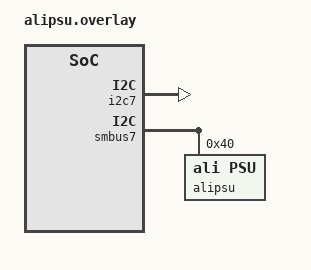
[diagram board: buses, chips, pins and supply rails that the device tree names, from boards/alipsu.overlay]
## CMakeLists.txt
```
cmake_minimum_required(VERSION 3.22)

# 添加这行来指定board overlay文件
set(DTC_OVERLAY_FILE boards/alipsu.overlay)

find_package(Zephyr REQUIRED HINTS $ENV{ZEPHYR_BASE})
project(alipsu_app)

# 添加PMBus/Alipsu库目录到包含路径
include_directories($ENV{ZEPHYR_BASE}/drivers/sensor/ls_pmbus)
include_directories($ENV{ZEPHYR_BASE}/drivers/sensor/alipsu)

# 添加应用程序源文件
FILE(GLOB app_sources src/*.c)
target_sources(app PRIVATE ${app_sources})

# 确保设备树生成正确
zephyr_library_include_directories(${ZEPHYR_BASE}/include)
zephyr_library_include_directories(${ZEPHYR_BASE}/drivers/sensor/alipsu)

# 添加依赖关系，确保PMBus库在MP5023之前编译
add_dependencies(app zephyr_interface)
```

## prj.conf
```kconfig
# 启用ALIPSU驱动
CONFIG_ALIPSU=y

# 启用I2C
CONFIG_I2C=y
CONFIG_SMBUS=y
CONFIG_PECI=n
CONFIG_PIPES=y

# 启用传感器子系统
CONFIG_SENSOR=y

# 日志系统配置
CONFIG_LOG=y
CONFIG_LOG_MODE_IMMEDIATE=y
CONFIG_LOG_DEFAULT_LEVEL=4
```

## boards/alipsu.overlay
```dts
/*
 * Copyright (c) 2018 Jan Van Winkel <jan.van_winkel@dxplore.eu>
 *
 * SPDX-License-Identifier: Apache-2.0
 */

&i2c7 {
    status = "okay";
    bus-frequency = <100000>;
};

&smbus7 {
    status = "okay";
    
    alipsu: alipsu@40 {
        compatible = "ali,psu";
        reg = <0x40>;
        status = "okay";
        smbus-max-frequency = <100000>;
    };
};
```

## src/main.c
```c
/*
 * Copyright (c) 2018 Jan Van Winkel <jan.van_winkel@dxplore.eu>
 *
 * SPDX-License-Identifier: Apache-2.0
 */

#include <zephyr/device.h>
#include <zephyr/devicetree.h>
#include <zephyr/drivers/sensor.h>
#include <zephyr/kernel.h>
#include <zephyr/logging/log.h>
// #include <zephyr/drivers/sensor/alipsu/psu.h>
#include "psu.h"

LOG_MODULE_REGISTER(alipsu_app, LOG_LEVEL_INF);

// 定义驱动兼容性字符串
#define DT_DRV_COMPAT ali_psu

// 定义设备标签名称
#define ALIPSU_DEV_NODE DT_NODELABEL(alipsu)

void main(void) {
  const struct device *dev = DEVICE_DT_GET(ALIPSU_DEV_NODE);
  uint16_t word;
  uint8_t retry = 0, len = 0; /* len comes from ali_attr_len[] */
  uint8_t buf[32] = {0};
  int64_t val;
  // float power;

  int ret;
  if (NULL == dev) {
    LOG_ERR("Failed to get ALIPSU device binding");
    return;
  }

  if (!device_is_ready(dev)) {
    LOG_ERR("Device %s is not ready", dev->name);
    return;
  }

  LOG_INF("ALIPSU sensor measurement example started");

  while (retry < 1) {
    
    uint8_t old_page = 0;
    ret = ali_psu_mfr_page_show(dev, &old_page);
    if (ret < 0) {
      LOG_ERR("Failed to read current page: %d", old_page);
      continue;
    }

    ret = ali_psu_mfr_page_store(dev, old_page+1);
    if (ret < 0) {
      LOG_ERR("Failed to store new page: %d", old_page+1);
      continue;
    }

    ret = ali_psu_mfr_page_show(dev, &old_page);
    if (ret < 0) {
      LOG_ERR("Read current updated page: %d", old_page);
      continue;
    }

    ret = ali_psu_fw_version_show(dev, ALI_PS_REG_FW_REV, buf, &len);
    if (ret < 0) {
      LOG_ERR("Failed to show firmware version: %d", ret);
      continue;
    }

    ret = ali_psu_ac_cycle_store(dev);
    if (ret < 0) {
      LOG_ERR("Failed to store AC cycle: %d", ret);
      continue;
    }
    
    ret = ali_psu_bootloader_str_show(dev, ALI_PS_REG_BOOTLOADER_KEY, buf, &len);
    if (ret < 0) {
      LOG_ERR("Failed to show bootloader key: %d", ret);
      continue;
    }

    len = 3;
    ret = ali_psu_bootloader_str_store(dev, ALI_PS_REG_BOOTLOADER_KEY, buf, len);
    if (ret < 0) {
      LOG_ERR("Failed to store bootloader key: %d", ret);
      continue;
    }

    len = 1;
    buf[0] = 0x01;
    ret = ali_psu_bootloader_hex_store(dev, ALI_PS_REG_BOOTLOADER_STATUS, buf, len);
    if (ret < 0) {
      LOG_ERR("Failed to store bootloader status: %d", ret);
      continue;
    }

    ret = ali_psu_bootloader_hex_show(dev, ALI_PS_REG_BOOTLOADER_STATUS, buf, &len);
    if (ret < 0) {
      LOG_ERR("Failed to show bootloader status: %d", ret);
      continue;
    }

    ret = ali_psu_block_show(dev, ALI_PS_REG_MFR_ID, buf, &len);
    if (ret < 0) {
      LOG_ERR("Failed to show MFR ID block: %d", ret);
      continue;
    }

    ret = ali_psu_block_hex_his_show(dev, ALI_PS_REG_MFR_POS_TOTAL, buf, &len);
    if (ret < 0) {
      LOG_ERR("Failed to show block hex MFR_POS_TOTAL history: %d", ret);
      continue;
    }

    ret = ali_psu_sensor_show(dev, ALI_PS_REG_CURR_SHARE_IOUT_READ_FILTER, &val);
    if (ret < 0) {
      LOG_ERR("Failed to show current sensor IOUT_READ_FILTER: %d", ret);
      continue;
    }

    /* Get voltage, power and temperature data */
    ret = ali_psu_sensor_his_show(dev, ALI_PS_REG_READ_VIN, &val);
    if (ret < 0) {
      LOG_ERR("Failed to get voltage: %d", ret);
      continue;
    }

    ret = ali_psu_sensor_his_show(dev, ALI_PS_REG_READ_IIN, &val);
    if (ret < 0) {
      LOG_ERR("Failed to get current: %d", ret);
      continue;
    }

    ret = ali_psu_sensor_his_show(dev, ALI_PS_REG_READ_PIN, &val);
    if (ret < 0) {
      LOG_ERR("Failed to get power: %d", ret);
      continue;
    }

    ret = ali_psu_sensor_his_show(dev, ALI_PS_REG_READ_TEMP1, &val);
    if (ret < 0) {
      LOG_ERR("Failed to get temperature: %d", ret);
      continue;
    }

    LOG_INF("Voltage mV: %lld", val);
    LOG_INF("Current mA: %lld", val);
    LOG_INF("Power vW: %lld ", val);
    LOG_INF("Temperature m°C: %lld", val);

    ret = ali_psu_byte_his_show(dev, ALI_PS_REG_STATUS_INPUT, buf);
    if (ret < 0) {
      LOG_ERR("Failed to show byte history STATUS_INPUT: %d", ret);
      continue;
    }

    ret = ali_psu_word_his_show(dev, ALI_PS_REG_STATUS_WORD, buf);
    if (ret < 0) {
      LOG_ERR("Failed to show word history STATUS_WORD: %d", ret);
      continue;
    }

    ret = ali_psu_word_show(dev, ALI_PS_REG_AUTO_TURN_ON_DELAY_WORD, &word);
    if (ret < 0) {
      LOG_ERR("Failed to show word AUTO_TURN_ON_DELAY_WORD: %d", ret);
      continue;
    }

    ret = ali_psu_word_store(dev, ALI_PS_REG_AUTO_TURN_ON_DELAY_WORD, word);
    if (ret < 0) {
      LOG_ERR("Failed to store word AUTO_TURN_ON_DELAY_WORD: %d", ret);
      continue;
    }

    ret = ali_psu_byte_show(dev, ALI_PS_REG_STATUS_OTHER, &buf[0]);
    if (ret < 0) {
      LOG_ERR("Failed to show byte STATUS_OTHER: %d", ret);
      continue;
    }

    ret = ali_psu_byte_store(dev, ALI_PS_REG_STATUS_OTHER, buf[0]);
    if (ret < 0) {
      LOG_ERR("Failed to store byte STATUS_OTHER: %d", ret);
      continue;
    }

    k_sleep(K_SECONDS(1));
    retry++;
  }
}
```
